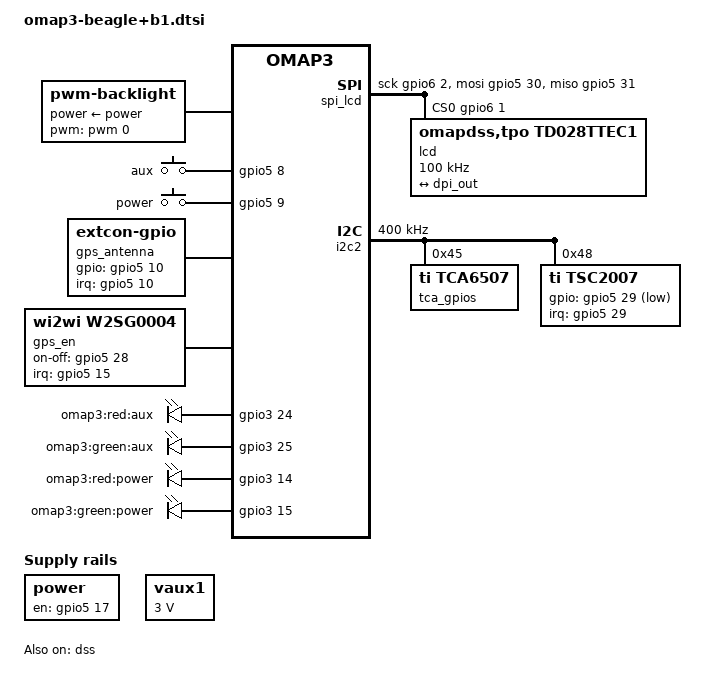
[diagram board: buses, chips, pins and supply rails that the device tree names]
/*
 * Copyright (C) 2014 H. Nikolaus Schaller <hns@goldelico.com>
 *
 * This program is free software; you can redistribute it and/or modify
 * it under the terms of the GNU General Public License version 2 as
 * published by the Free Software Foundation.
 *
 * the beagle-b1 is a BeagleBoard plus a display adapter
 * board called "Openmoko Beagle Hybrid"
 *
 * This adapter supports
 *   Toppoly Panel
 *   Backlight driver (GPIO / PWM)
 *   TSC2007 touch screen controller (I2C2 + GPIO )
 *   W2SG0004 GPS receiver connected to UART2 + GPIO
 *   external antenna detect (GPIO )
 */

/ {

	aliases {
		display0 = &lcd;
		display1 = &tv0;
		/* display2 = &dvi0; we don't use DVI but LCD */
	};

	spi_lcd: spi_lcd {
		compatible = "spi-gpio";
		#address-cells = <0x1>;
		#size-cells = <0x0>;
		pinctrl-names = "default";
		pinctrl-0 = <&spi_gpio_pins>;

		gpio-sck = <&gpio6 2 0>;	/* gpio162 */
		gpio-miso = <&gpio5 31 0>;	/* gpio159 */
		gpio-mosi = <&gpio5 30 0>;	/* gpio158 */
		cs-gpios = <&gpio6 1 0>;	/* gpio161 */
		num-chipselects = <1>;

		/* lcd panel */
		lcd: td028ttec1@0 {
			compatible = "omapdss,tpo,td028ttec1";
			reg = <0>;
			spi-max-frequency = <100000>;
			spi-cpol;
			spi-cpha;

			label = "lcd";
			port {
				lcd_in: endpoint {
					remote-endpoint = <&dpi_out>;
				};
			};
		};
	};

	backlight {
		compatible = "pwm-backlight";
		pwms = <&pwm 0 2000000>;
		brightness-levels = <0 11 20 30 40 50 60 70 80 90 100>;
		default-brightness-level = <80>;
		pinctrl-names = "default";
		pinctrl-0 = <&backlight_pins>;
		power-supply = <&power>;
	};

	pwm: omap_pwm {
		compatible = "ti,omap-pwm";
		timers = <&timer10>;
		#pwm-cells = <2>;
	};

	/* this is a workaround because the backlight pwm does not work */
	power: fixed_regulator@0 {
		compatible = "regulator-fixed";
		regulator-name = "bl-enable";
		regulator-boot-on;
		regulator-always-on;
		regulator-min-microvolt = "22000000";
		regulator-max-microvolt = "22000000";
		gpio = <&gpio5 17 0>;	/* gpio145 (GPT10/PWM) */
		enable-active-high;
	};

	gpio-keys@1 {
		compatible = "gpio-keys";

		aux-button {
			label = "aux";
			linux,code = <169>;
			gpios = <&gpio5 8 GPIO_ACTIVE_HIGH>;	/* gpio136 */
		};

		power-button {
			label = "power";
			linux,code = <170>;
			gpios = <&gpio5 9 GPIO_ACTIVE_HIGH>;	/* gpio137 */
		};
	};

	antenna-detect {
		compatible = "extcon-gpio";
		label = "gps_antenna";
		debounce-delay-ms = <10>;
		interrupt-parent = <&gpio5>;
		interrupts = <10 IRQ_TYPE_EDGE_BOTH>; /* gpio138 */
		irq-flags = <IRQ_TYPE_EDGE_BOTH>;
		gpios = <&gpio5 10 GPIO_ACTIVE_HIGH>; /* gpio138 */
		state-on = "external";
		state-off = "internal";
	};

	gps_en: w2sg0004 { /* presents a single gpio to be plumbed to uart2 dts */
		compatible = "wi2wi,w2sg0004";
		gpio-controller;
		#gpio-cells = <2>;

		pinctrl-names = "default", "monitor";
		pinctrl-0 = <&uart2_pins>;
		pinctrl-1 = <&uart2_rx_irq_pins>;

		interrupt-parent = <&gpio5>;
		interrupts = <15 IRQ_TYPE_EDGE_FALLING>;	/* uart2.rx = gpio143 - trigger on arrival of start bit */

	// not available on this board!	lna-supply = <&vsim>;	/* LNA regulator */
		on-off-gpio = <&gpio5 28 0>;	/* gpio156: trigger for turning on/off w2sg0004 */
	};

	leds {

		compatible = "gpio-leds";
		led@1 {
			label = "omap3:red:aux";
			gpios = <&gpio3 24 GPIO_ACTIVE_HIGH>;
			linux,default-trigger = "heartbeat";
			default-state = "off";
		};
		led@2 {
			label = "omap3:green:aux";
			gpios = <&gpio3 25 GPIO_ACTIVE_HIGH>;
			linux,default-trigger = "heartbeat";
			default-state = "off";
		};
		led@3 {
			label = "omap3:red:power";
			gpios = <&gpio3 14 GPIO_ACTIVE_HIGH>;
			linux,default-trigger = "mmc0";
			default-state = "off";
		};
		led@4 {
			label = "omap3:green:power";
			gpios = <&gpio3 15 GPIO_ACTIVE_HIGH>;
			linux,default-trigger = "heartbeat";
			default-state = "off";
		};
	};
};

/* don't match these drivers inherited from omap3-beagle-xm-ab.dts */
&dvi0 {
	status = "disabled";
	compatible = "dvi-connector-disabled";
};

&tfp410 {
	status = "disabled";
	compatible = "ti,tfp410-disabled";
};


&omap3_pmx_core {
	pinctrl-names = "default";
	pinctrl-0 = <
			&hsusb2_pins
			&i2c2_pins
			&button_pins
			&w2sg_pins
			&backlight_pins
			&dss_gpio_pins
	>;
	uart2_pins: pinmux_uart2_pins {
		pinctrl-single,pins = <
			OMAP3_CORE1_IOPAD(0x2172, PIN_INPUT | MUX_MODE1)                /* mcbsp3_clkx.uart2_rx = gpio143 */
			OMAP3_CORE1_IOPAD(0x2178, PIN_OUTPUT | MUX_MODE0)               /* uart2_tx.uart2_tx = gpio146 */
		>;
	};

	uart2_rx_irq_pins: pinmux_uart2_rx_irq_pins {
		pinctrl-single,pins = <
			/* switch RX to GPIO so that we can get interrupts by the start bit */
			OMAP3_CORE1_IOPAD(0x2172, PIN_INPUT | MUX_MODE4)                /* uart2_rx.uart2_rx = gpio143 */
			OMAP3_CORE1_IOPAD(0x2178, PIN_OUTPUT | MUX_MODE0)               /* uart2_tx.uart2_tx = gpio146 */
		>;
	};

	i2c2_pins: pinmux_i2c2_pins {
		pinctrl-single,pins = <
			OMAP3_CORE1_IOPAD(0x21be, PIN_INPUT_PULLUP | MUX_MODE0) /* i2c2_scl.i2c2_scl */
			OMAP3_CORE1_IOPAD(0x21c0, PIN_INPUT_PULLUP | MUX_MODE0) /* i2c2_sda.i2c2_sda */
		>;
	};

	backlight_pins: backlight_pins_pimnux {
		pinctrl-single,pins = <
			OMAP3_CORE1_IOPAD(0x2176, PIN_OUTPUT | MUX_MODE4)	/* uart2.rts - gpt10/gpio145 - backlight */
		>;
	};

	button_pins: pinmux_button_pins {
		pinctrl-single,pins = <
			OMAP3_CORE1_IOPAD(0x2164, PIN_INPUT_PULLUP | MUX_MODE4) /* gpio136 - aux */
			OMAP3_CORE1_IOPAD(0x2166, PIN_INPUT_PULLUP | MUX_MODE4) /* gpio137 - power */
		>;
	};

	w2sg_pins: pinmux_w2sg_pins {
		pinctrl-single,pins = <
			OMAP3_CORE1_IOPAD(0x218c, PIN_OUTPUT | MUX_MODE4) /* gpio156 - gps on/off */
			OMAP3_CORE1_IOPAD(0x2168, PIN_INPUT_PULLUP | MUX_MODE4) /* gpio138 - extcon */
		>;
	};

	penirq_pins: pinmux_penirq_pins {
		pinctrl-single,pins = <
			/* here we could enable to wakeup the cpu from suspend by a pen touch */
			OMAP3_CORE1_IOPAD(0x218e, PIN_INPUT_PULLUP | MUX_MODE4) /* gpio157 - penirq */
		>;
	};

	spi_gpio_pins: spi_gpio_pinmux {
		pinctrl-single,pins = <
			OMAP3_CORE1_IOPAD(0x2198, PIN_OUTPUT | MUX_MODE4) /* gpio162 - clk */
			OMAP3_CORE1_IOPAD(0x2196, PIN_OUTPUT | MUX_MODE4) /* gpio161 - cs */
			OMAP3_CORE1_IOPAD(0x2190, PIN_OUTPUT | MUX_MODE4) /* gpio158 - tx */
			OMAP3_CORE1_IOPAD(0x2192, PIN_INPUT | MUX_MODE4) /* gpio159 - rx */
		>;
	};

	dss_gpio_pins: dss_gpio_pinmux { /* DSS pins not used for panel but as GPIOs */
		pinctrl-single,pins = <
			OMAP3_CORE1_IOPAD(0x2100, PIN_OUTPUT | MUX_MODE4)   /* dss_data18.dss_data0 */
			OMAP3_CORE1_IOPAD(0x2102, PIN_OUTPUT | MUX_MODE4)   /* dss_data19.dss_data1 */
			OMAP3_CORE1_IOPAD(0x20ec, PIN_OUTPUT | MUX_MODE4)   /* dss_data8.dss_data8 */
			OMAP3_CORE1_IOPAD(0x20ee, PIN_OUTPUT | MUX_MODE4)   /* dss_data9.dss_data9 */
			OMAP3_CORE1_IOPAD(0x20fc, PIN_OUTPUT | MUX_MODE4)   /* dss_data16.dss_data16 */
			OMAP3_CORE1_IOPAD(0x20fe, PIN_INPUT | MUX_MODE4)   /* dss_data17.dss_data17 */
		>;
	};

};

&i2c2 {
	clock-frequency = <400000>;

	/* leds */
	tca_gpios: tca6507@45 {
		compatible = "ti,tca6507";
		#address-cells = <1>;
		#size-cells = <0>;
		reg = <0x45>;

		gpio-controller;
		#gpio-cells = <2>;

		gta04_led0: led@0 {
			label = "gta04:red:aux";
			reg = <0x0>;
			linux,default-trigger = "mmc0";
		};

		gta04_led1: led@1 {
			label = "gta04:green:aux";
			reg = <0x1>;
			linux,default-trigger = "mmc0";
		};

		gta04_led2: led@2 {
			label = "gta04:blue:aux";
			reg = <0x2>;
			linux,default-trigger = "mmc0";
		};

		gta04_led3: led@3 {
			label = "gta04:red:power";
			reg = <0x3>;
			linux,default-trigger = "heartbeat";
		};

		gta04_led4: led@4 {
			label = "gta04:green:power";
			reg = <0x4>;
			linux,default-trigger = "heartbeat";
		};

		gta04_led5: led@5 {
			label = "gta04:blue:power";
			reg = <0x5>;
			linux,default-trigger = "heartbeat";
		};

	};

	/* touchscreen */
	tsc2007@48 {
		compatible = "ti,tsc2007";
		reg = <0x48>;
		pinctrl-names = "default";
		pinctrl-0 = <&penirq_pins>;
		interrupt-parent = <&gpio5>;
		interrupts = <29 IRQ_TYPE_EDGE_FALLING>;	/* gpio157 */
		gpios = <&gpio5 29 GPIO_ACTIVE_LOW>;	/* gpio157 */
		ti,x-plate-ohms = <550>;
		ti,min-x = <0x100>;
		ti,max-x = <0xf00>;
		ti,min-y = <0x100>;
		ti,max-y = <0xf00>;
		ti,min-rt = <0xfff>;
		ti,max-rt = <0>;
	};

};

&uart2 { /* GPS /dev/ttyO1 */
	dtr-gpio = <&gps_en 0 GPIO_ACTIVE_HIGH>;	/* w2sg0004 GPS power control through virtual gpio */
};

&dss {
	pinctrl-names = "default";
	pinctrl-0 = <
		&dss_dpi_pins1
		&dss_dpi_pins2
	>;

	status = "ok";

	port {
		dpi_out: endpoint {
			remote-endpoint = <&lcd_in>;
			data-lines = <24>;
		};
	};
};

&dss_dpi_pins1 { /* same as standard BB XM - except that we define data0/1, 8/9, 16/17 as GPIOs in the main mux block */
	pinctrl-single,pins = <
		OMAP3_CORE1_IOPAD(0x20d4, PIN_OUTPUT | MUX_MODE0)   /* dss_pclk.dss_pclk */
		OMAP3_CORE1_IOPAD(0x20d6, PIN_OUTPUT | MUX_MODE0)   /* dss_hsync.dss_hsync */
		OMAP3_CORE1_IOPAD(0x20d8, PIN_OUTPUT | MUX_MODE0)   /* dss_vsync.dss_vsync */
		OMAP3_CORE1_IOPAD(0x20da, PIN_OUTPUT | MUX_MODE0)   /* dss_acbias.dss_acbias */

		OMAP3_CORE1_IOPAD(0x20e8, PIN_OUTPUT | MUX_MODE0)   /* dss_data6.dss_data6 */
		OMAP3_CORE1_IOPAD(0x20ea, PIN_OUTPUT | MUX_MODE0)   /* dss_data7.dss_data7 */
		OMAP3_CORE1_IOPAD(0x20f0, PIN_OUTPUT | MUX_MODE0)   /* dss_data10.dss_data10 */
		OMAP3_CORE1_IOPAD(0x20f2, PIN_OUTPUT | MUX_MODE0)   /* dss_data11.dss_data11 */
		OMAP3_CORE1_IOPAD(0x20f4, PIN_OUTPUT | MUX_MODE0)   /* dss_data12.dss_data12 */
		OMAP3_CORE1_IOPAD(0x20f6, PIN_OUTPUT | MUX_MODE0)   /* dss_data13.dss_data13 */
		OMAP3_CORE1_IOPAD(0x20f8, PIN_OUTPUT | MUX_MODE0)   /* dss_data14.dss_data14 */
		OMAP3_CORE1_IOPAD(0x20fa, PIN_OUTPUT | MUX_MODE0)   /* dss_data15.dss_data15 */

		OMAP3_CORE1_IOPAD(0x2104, PIN_OUTPUT | MUX_MODE3)   /* dss_data20.dss_data2 */
		OMAP3_CORE1_IOPAD(0x2106, PIN_OUTPUT | MUX_MODE3)   /* dss_data21.dss_data3 */
		OMAP3_CORE1_IOPAD(0x2108, PIN_OUTPUT | MUX_MODE3)   /* dss_data22.dss_data4 */
		OMAP3_CORE1_IOPAD(0x210a, PIN_OUTPUT | MUX_MODE3)   /* dss_data23.dss_data5 */
	>;
};

&vaux1 { /* provide 3.3V to LEDs, panel, GPS */
	regulator-min-microvolt = <3000000>;
	regulator-max-microvolt = <3000000>;
	regulator-always-on;
};
